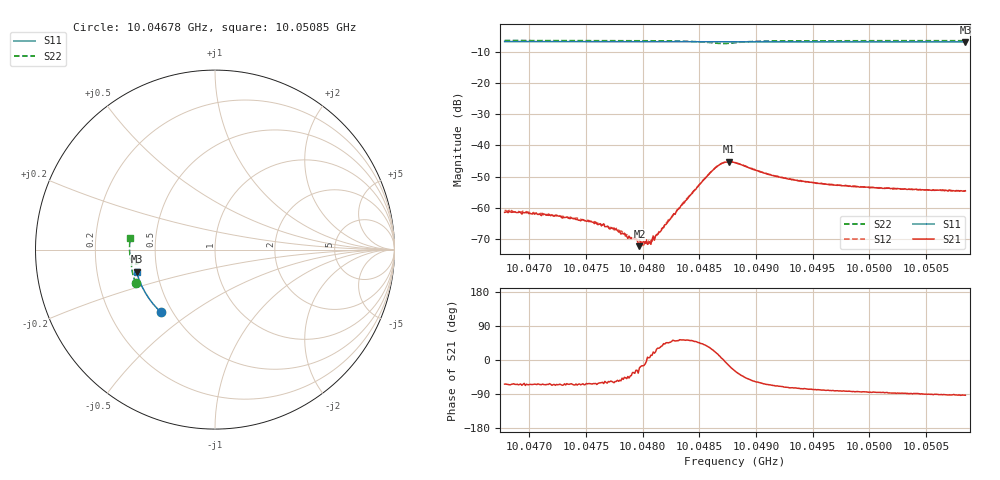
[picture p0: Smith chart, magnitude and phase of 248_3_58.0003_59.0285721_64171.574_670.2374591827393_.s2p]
#  HZ  S  RI  R  50.00
! Rohde & Schwarz Vector Network Analyzer
! Rohde-Schwarz,ZNB20-2Port,1311601062101988,3.16
! Created: UTC 3/21/2024, 1:01:21 AM
! freq[Hz]  re:S11  im:S11  re:S21  im:S21  re:S12  im:S12  re:S22  im:S22
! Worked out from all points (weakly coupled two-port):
!   401 points, 10.04678 GHz to 10.05085 GHz, reference 50 ohm
!   highest |S21| = -45.23 dB at 10.04876 GHz (marker M1); lowest = -72.3 dB at 10.04797 GHz (marker M2)
!   lowest |S11| = -6.9 dB at 10.05085 GHz (marker M3), VSWR 2.66, Z = 19.1 - j5.88 ohm
!   |S11| at or under -10 dB: nowhere
!   |S22| runs from -7.4 to -6.4 dB; largest |S21 - S12| = 0.00037
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1.0046782e10  -0.301 -0.3489  0.000376 -0.00076  0.000482 -0.000768  -0.4424 -0.1851
1.0047137e10  -0.3179 -0.3324  0.000334 -0.000719  0.000366 -0.000712  -0.4506 -0.1621
1.0047463e10  -0.3327 -0.3167  0.000279 -0.000577  0.000314 -0.000569  -0.4569 -0.1404
1.0047565e10  -0.337 -0.3117  0.000273 -0.000518  0.000298 -0.0005  -0.4588 -0.1333
1.0047748e10  -0.345 -0.3026  0.000239 -0.00041  0.000272 -0.000353  -0.4617 -0.1204
1.0047809e10  -0.3474 -0.2993  0.000218 -0.00031  0.000283 -0.000317  -0.4624 -0.1161
1.004788e10  -0.3504 -0.2956  0.000238 -0.000261  0.000263 -0.000218  -0.4633 -0.1105
1.0047931e10  -0.3526 -0.293  0.00026 -0.000183  0.000265 -0.000177  -0.4638 -0.1067
1.0047971e10  -0.3541 -0.2908  0.000227 -8.75e-05  0.000293 -9.87e-05  -0.4641 -0.1036
1.0048022e10  -0.3562 -0.288  0.000266 -4.86e-05  0.000288 -3.44e-05  -0.4646 -0.0994
1.0048063e10  -0.3578 -0.286  0.000284 3.16e-05  0.000262 5.98e-05  -0.4649 -0.0961
1.0048083e10  -0.3585 -0.2849  0.000304 6.6e-05  0.000275 9.75e-05  -0.4649 -0.0945
1.0048144e10  -0.361 -0.2818  0.000346 0.000209  0.000322 0.000263  -0.4652 -0.0894
1.0048368e10  -0.3695 -0.2697  0.000735 0.000958  0.000717 0.00105  -0.4622 -0.068
1.0048602e10  -0.3779 -0.2566  0.00322 0.00188  0.00311 0.00209  -0.439 -0.048
1.0048683e10  -0.3806 -0.2521  0.0049 0.000806  0.00486 0.0011  -0.4247 -0.0556
1.0048764e10  -0.3832 -0.2479  0.00528 -0.00146  0.0054 -0.00115  -0.425 -0.0728
1.0048815e10  -0.3851 -0.2451  0.00462 -0.00258  0.00486 -0.00231  -0.4331 -0.0793
1.0049161e10  -0.3965 -0.2254  0.00125 -0.003  0.00143 -0.00295  -0.4682 -0.0561
1.0049497e10  -0.4066 -0.2057  0.000544 -0.00248  0.000712 -0.00245  -0.4745 -0.0281
1.0050178e10  -0.424 -0.1643  0.000113 -0.00206  0.000237 -0.00206  -0.4759 0.0213
1.0050849e10  -0.4368 -0.1222  -9.79e-05 -0.00187  -1.11e-05 -0.00187  -0.4714 0.0668
